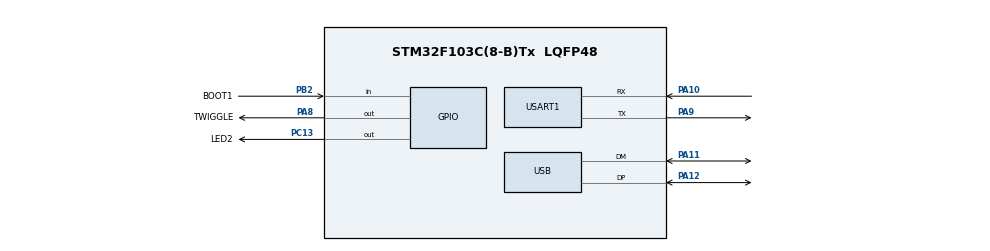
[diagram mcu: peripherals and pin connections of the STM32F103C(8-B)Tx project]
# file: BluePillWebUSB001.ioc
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FREERTOS.INCLUDE_uxTaskGetStackHighWaterMark=1
FREERTOS.MEMORY_ALLOCATION=2
FREERTOS.Tasks01=defaultTask,0,128,StartDefaultTask,Default,NULL,Static,defaultTaskBuffer,defaultTaskControlBlock
FREERTOS.configCHECK_FOR_STACK_OVERFLOW=2
FREERTOS.configGENERATE_RUN_TIME_STATS=0
FREERTOS.configRECORD_STACK_HIGH_ADDRESS=0
FREERTOS.configTOTAL_HEAP_SIZE=4096
FREERTOS.configUSE_MALLOC_FAILED_HOOK=1
Mcu.Family=STM32F1
Mcu.Name=STM32F103C(8-B)Tx
Mcu.Package=LQFP48
NVIC.PriorityGroup=NVIC_PRIORITYGROUP_4
NVIC.RTC_Alarm_IRQn=true\:5\:0\:false\:false\:true\:true\:true\:true
NVIC.TIM2_IRQn=true\:0\:0\:false\:false\:true\:false\:false\:true
NVIC.TimeBase=TIM2_IRQn
NVIC.TimeBaseIP=TIM2
NVIC.USART1_IRQn=true\:5\:0\:false\:false\:true\:true\:true\:true
NVIC.USB_LP_CAN1_RX0_IRQn=true\:5\:0\:false\:false\:true\:true\:false\:true
PA10.Mode=Asynchronous
PA10.Signal=USART1_RX
PA11.Mode=Device
PA11.Signal=USB_DM
PA12.Mode=Device
PA12.Signal=USB_DP
PA13.Mode=Serial_Wire
PA13.Signal=SYS_JTMS-SWDIO
PA14.Mode=Serial_Wire
PA14.Signal=SYS_JTCK-SWCLK
PA8.GPIO_Label=TWIGGLE
PA8.GPIO_Speed=GPIO_SPEED_FREQ_HIGH
PA8.Signal=GPIO_Output
PA9.Mode=Asynchronous
PA9.Signal=USART1_TX
PB2.GPIO_Label=BOOT1
PB2.Signal=GPIO_Input
PC13-TAMPER-RTC.GPIO_Label=LED2
PC13-TAMPER-RTC.PinState=GPIO_PIN_SET
PC13-TAMPER-RTC.Signal=GPIO_Output
PC14-OSC32_IN.Mode=LSE-External-Oscillator
PC14-OSC32_IN.Signal=RCC_OSC32_IN
PC15-OSC32_OUT.Mode=LSE-External-Oscillator
PC15-OSC32_OUT.Signal=RCC_OSC32_OUT
PD0-OSC_IN.Mode=HSE-External-Oscillator
PD0-OSC_IN.Signal=RCC_OSC_IN
PD1-OSC_OUT.Mode=HSE-External-Oscillator
PD1-OSC_OUT.Signal=RCC_OSC_OUT
ProjectManager.HeapSize=0x200
ProjectManager.StackSize=0x400
ProjectManager.TargetToolchain=SW4STM32
RCC.AHBFreq_Value=72000000
RCC.APB1CLKDivider=RCC_HCLK_DIV2
RCC.APB1Freq_Value=36000000
RCC.APB1TimFreq_Value=72000000
RCC.APB2Freq_Value=72000000
RCC.APB2TimFreq_Value=72000000
RCC.HCLKFreq_Value=72000000
RCC.PLLMUL=RCC_PLL_MUL9
RCC.PLLSourceVirtual=RCC_PLLSOURCE_HSE
RCC.RTCClockSelection=RCC_RTCCLKSOURCE_LSE
RCC.SYSCLKFreq_VALUE=72000000
RCC.SYSCLKSource=RCC_SYSCLKSOURCE_PLLCLK
RCC.USBFreq_Value=48000000
RCC.USBPrescaler=RCC_USBCLKSOURCE_PLL_DIV1_5
RTC.AutoPrediv=RTC_AUTO_1_SECOND
RTC.Date=7
RTC.Format=RTC_FORMAT_BIN
RTC.Month=RTC_MONTH_AUGUST
RTC.WeekDay=RTC_WEEKDAY_FRIDAY
RTC.Year=20
USART1.VirtualMode=VM_ASYNC
USB_DEVICE.CLASS_NAME_FS=CDC
USB_DEVICE.VirtualMode=Cdc
USB_DEVICE.VirtualModeFS=Cdc_FS
VP_FREERTOS_VS_CMSIS_V1.Mode=CMSIS_V1
VP_RTC_No_RTC_Output.Mode=RTC_OUT_NO
VP_RTC_VS_RTC_Activate.Mode=RTC_Enabled
VP_SYS_VS_tim2.Mode=TIM2
VP_USB_DEVICE_VS_USB_DEVICE_CDC_FS.Mode=CDC_FS
board=BluePill

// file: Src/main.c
/* USER CODE BEGIN Header */
/**
  ******************************************************************************
  * @file           : main.c
  * @brief          : Main program body
  ******************************************************************************
  * @attention
  *
  * <h2><center>&copy; Copyright (c) 2020 STMicroelectronics.
  * All rights reserved.</center></h2>
  *
  * This software component is licensed by ST under Ultimate Liberty license
  * SLA0044, the "License"; You may not use this file except in compliance with
  * the License. You may obtain a copy of the License at:
  *                             www.st.com/SLA0044
  *
  ******************************************************************************
  */
/* USER CODE END Header */

#include "main.h"
#include "cmsis_os.h"

/* USER CODE BEGIN Includes */

#include "tusb.h"
#include "system_interfaces.h"
#include "serial_devices.h"
#include "util_circbuff2.h"

#include "lamps.h"
#include "task_notification_bits.h"

#include "task_monitor.h"

//get the debug cycle counter as a high-resolution clock
uint32_t inline getCyCnt() { return DWT->CYCCNT; }

#ifndef COUNTOF
#define COUNTOF(arr) (sizeof(arr)/sizeof(arr[0]))
#endif

#if ! HAVE_UART1 && ! HAVE_USBCDC
#error You must set at least one of HAVE_UART1 HAVE_USBCDC to 1 in project settings
#endif

//This controls whether we use the FreeRTOS heap implementation to also provide
//the libc malloc() and friends.
#define USE_FREERTOS_HEAP_IMPL 1

//resource usage statistics collected in default task for production tuning
#ifdef DEBUG
volatile size_t g_nHeapFree;
volatile size_t g_nMinEverHeapFree;
#if HAVE_UART1
volatile int g_nMaxUART1TxQueue;
volatile int g_nMaxUART1RxQueue;
#endif
#if HAVE_USBCDC
volatile int g_nMaxCDCTxQueue;
volatile int g_nMaxCDCRxQueue;
#endif
volatile int g_nMinStackFreeDefault;
volatile int g_nMinStackFreeMonitor;
//XXX others
#endif

#if USE_FREERTOS_HEAP_IMPL

#if configAPPLICATION_ALLOCATED_HEAP
//we define our heap (to be used by FreeRTOS heap_4.c implementation) to be
//exactly where we want it to be.
__attribute__((aligned(8)))
uint8_t ucHeap[ configTOTAL_HEAP_SIZE ];
#endif
//we implemented a 'realloc' for a heap_4 derived implementation
extern void* pvPortRealloc( void* pvOrig, size_t xWantedSize );
//we implemented a 'heapwalk' function
typedef int (*CBK_HEAPWALK) ( void* pblk, uint32_t nBlkSize, int bIsFree, void* pinst );
extern int vPortHeapWalk ( CBK_HEAPWALK pfnWalk, void* pinst );

//'wrapped functions' for library interpositioning
//you must specify these gcc (linker-directed) options to cause the wrappers'
//delights to be generated:

// -Wl,--wrap,malloc -Wl,--wrap,free -Wl,--wrap,realloc -Wl,--wrap,calloc -Wl,--wrap,_malloc_r -Wl,--wrap,_free_r -Wl,--wrap,_realloc_r -Wl,--wrap,_calloc_r

//hmm; can I declare these 'inline' and save a little code and stack?
void* __wrap_malloc ( size_t size ) { return pvPortMalloc ( size ); }
void __wrap_free ( void* pv ) { vPortFree ( pv ); }
void* __wrap_realloc ( void* pv, size_t size ) { return pvPortRealloc ( pv, size ); }

void* __wrap__malloc_r ( struct _reent* r, size_t size ) { return pvPortMalloc ( size ); }
void __wrap__free_r ( struct _reent* r, void* pv ) { vPortFree ( pv ); }
void* __wrap__realloc_r ( struct _reent* r, void* pv, size_t size ) { return pvPortRealloc ( pv, size ); }

#endif

/* USER CODE END Includes */

osThreadId defaultTaskHandle;
uint32_t defaultTaskBuffer[ 128 ];
osStaticThreadDef_t defaultTaskControlBlock;

void SystemClock_Config(void);
static void MX_GPIO_Init(void);
static void MX_RTC_Init(void);
static void MX_USART1_UART_Init(void);
void StartDefaultTask(void const * argument);

int main(void)
{
  /* USER CODE BEGIN 1 */
	//enable the core debug cycle counter to be used as a precision timer
	CoreDebug->DEMCR |= CoreDebug_DEMCR_TRCENA_Msk;
	DWT->CYCCNT = 0;
	DWT->CTRL |= DWT_CTRL_CYCCNTENA_Msk;

	//do a dummy alloc to cause the heap to be init'ed and so the memory stats as well
	vPortFree ( pvPortMalloc ( 0 ) );

  /* USER CODE END 1 */

  /* MCU Configuration--------------------------------------------------------*/

  /* Reset of all peripherals, Initializes the Flash interface and the Systick. */
  HAL_Init();

  /* Configure the system clock */
  SystemClock_Config();

  /* USER CODE BEGIN SysInit */
	//USB clock selection
	MODIFY_REG(RCC->CFGR, RCC_CFGR_USBPRE, (uint32_t)(0));	//RCC_USBCLKSOURCE_PLL_DIV1_5
  /* USER CODE END SysInit */

  /* Initialize all configured peripherals */
  MX_GPIO_Init();
  MX_RTC_Init();
  MX_USART1_UART_Init();
  /* USER CODE BEGIN 2 */
	// USB Pins
	// Configure USB DM and DP pins.
	LL_GPIO_InitTypeDef GPIO_InitStruct = {0};
	GPIO_InitStruct.Pin = LL_GPIO_PIN_11 | LL_GPIO_PIN_12;
	GPIO_InitStruct.Mode = LL_GPIO_MODE_INPUT;
	GPIO_InitStruct.Speed = LL_GPIO_SPEED_FREQ_HIGH;
	LL_GPIO_Init(GPIOA, &GPIO_InitStruct);
	// USB Clock enable
	LL_APB1_GRP1_EnableClock(LL_APB1_GRP1_PERIPH_USB);
  /* USER CODE END 2 */

  /* Create the thread(s) */
  /* definition and creation of defaultTask */
  osThreadStaticDef(defaultTask, StartDefaultTask, osPriorityNormal, 0, 128, defaultTaskBuffer, &defaultTaskControlBlock);
  defaultTaskHandle = osThreadCreate(osThread(defaultTask), NULL);

  /* Start scheduler */
  osKernelStart();

  /* We should never get here as control is now taken by the scheduler */

  /* Infinite loop */
  while (1)
  {

  }
}

void SystemClock_Config(void)
{
  LL_FLASH_SetLatency(LL_FLASH_LATENCY_2);

   if(LL_FLASH_GetLatency() != LL_FLASH_LATENCY_2)
  {
    Error_Handler();
  }
  LL_RCC_HSE_Enable();

   /* Wait till HSE is ready */
  while(LL_RCC_HSE_IsReady() != 1)
  {

  }
  LL_PWR_EnableBkUpAccess();
  LL_RCC_ForceBackupDomainReset();
  LL_RCC_ReleaseBackupDomainReset();
  LL_RCC_LSE_Enable();

   /* Wait till LSE is ready */
  while(LL_RCC_LSE_IsReady() != 1)
  {

  }
  LL_RCC_SetRTCClockSource(LL_RCC_RTC_CLKSOURCE_LSE);
  LL_RCC_EnableRTC();
  LL_RCC_PLL_ConfigDomain_SYS(LL_RCC_PLLSOURCE_HSE_DIV_1, LL_RCC_PLL_MUL_9);
  LL_RCC_PLL_Enable();

   /* Wait till PLL is ready */
  while(LL_RCC_PLL_IsReady() != 1)
  {

  }
  LL_RCC_SetAHBPrescaler(LL_RCC_SYSCLK_DIV_1);
  LL_RCC_SetAPB1Prescaler(LL_RCC_APB1_DIV_2);
  LL_RCC_SetAPB2Prescaler(LL_RCC_APB2_DIV_1);
  LL_RCC_SetSysClkSource(LL_RCC_SYS_CLKSOURCE_PLL);

   /* Wait till System clock is ready */
  while(LL_RCC_GetSysClkSource() != LL_RCC_SYS_CLKSOURCE_STATUS_PLL)
  {

  }
  LL_SetSystemCoreClock(72000000);
}

static void MX_RTC_Init(void)
{

  LL_RTC_InitTypeDef RTC_InitStruct = {0};
  LL_RTC_TimeTypeDef RTC_TimeStruct = {0};

    LL_PWR_EnableBkUpAccess();
    /* Enable BKP CLK enable for backup registers */
    LL_APB1_GRP1_EnableClock(LL_APB1_GRP1_PERIPH_BKP);
  /* Peripheral clock enable */
  LL_RCC_EnableRTC();

  /* RTC interrupt Init */
  NVIC_SetPriority(RTC_Alarm_IRQn, NVIC_EncodePriority(NVIC_GetPriorityGrouping(),5, 0));
  NVIC_EnableIRQ(RTC_Alarm_IRQn);

  /* USER CODE BEGIN RTC_Init 1 */
	//XXX code to avoid resetting on every reboot goes here
  /* USER CODE END RTC_Init 1 */
  /** Initialize RTC and set the Time and Date
  */
  RTC_InitStruct.AsynchPrescaler = 0xFFFFFFFFU;
  LL_RTC_Init(RTC, &RTC_InitStruct);
  LL_RTC_SetAsynchPrescaler(RTC, 0xFFFFFFFFU);
  /** Initialize RTC and set the Time and Date
  */
  RTC_TimeStruct.Hours = 0;
  RTC_TimeStruct.Minutes = 0;
  RTC_TimeStruct.Seconds = 0;
  LL_RTC_TIME_Init(RTC, LL_RTC_FORMAT_BIN, &RTC_TimeStruct);
  /** Enable the Alarm A
  */
  LL_RTC_EnableIT_ALR(RTC);
  /* USER CODE BEGIN RTC_Init 2 */
	//goofy CubeMX will not let you explicitly set the prescaler above 127 in
	//the UI, and the 'auto compute' does nothing other than set it to
	//0xFFFFFFFFU, which does nothing (and the max value is 0x000FFFFF, anyway)
	//and goofy code above inits it via LL_RTC_Init(), then attempts to set it
	//again via LL_RTC_SetAsynchPrescaler(), which won't work, anyway.
	if (LL_RTC_EnterInitMode(RTC) != ERROR)
	{
		//we are using a 32768 Hz LSE xtal.  You could reduce the divider to
		//have sub-second resolution, but you will need to keep that in mind
		//elsewhere when reading the clock, and anyway you'll not be able to
		//have decimal precision since it's not a multiple of 10.
		LL_RTC_SetAsynchPrescaler(RTC, 32767);	//we are using LSE xtal
		LL_RTC_ExitInitMode(RTC);
	}
	else
	{
		//horror
	}

	//XXX end of code to avoid resetting on every reboot goes here

  /* USER CODE END RTC_Init 2 */

}

static void MX_USART1_UART_Init(void)
{

  LL_USART_InitTypeDef USART_InitStruct = {0};

  LL_GPIO_InitTypeDef GPIO_InitStruct = {0};

  /* Peripheral clock enable */
  LL_APB2_GRP1_EnableClock(LL_APB2_GRP1_PERIPH_USART1);

  LL_APB2_GRP1_EnableClock(LL_APB2_GRP1_PERIPH_GPIOA);
  /**USART1 GPIO Configuration
  PA9   ------> USART1_TX
  PA10   ------> USART1_RX
  */
  GPIO_InitStruct.Pin = LL_GPIO_PIN_9;
  GPIO_InitStruct.Mode = LL_GPIO_MODE_ALTERNATE;
  GPIO_InitStruct.Speed = LL_GPIO_SPEED_FREQ_HIGH;
  GPIO_InitStruct.OutputType = LL_GPIO_OUTPUT_PUSHPULL;
  LL_GPIO_Init(GPIOA, &GPIO_InitStruct);

  GPIO_InitStruct.Pin = LL_GPIO_PIN_10;
  GPIO_InitStruct.Mode = LL_GPIO_MODE_FLOATING;
  LL_GPIO_Init(GPIOA, &GPIO_InitStruct);

  /* USART1 interrupt Init */
  NVIC_SetPriority(USART1_IRQn, NVIC_EncodePriority(NVIC_GetPriorityGrouping(),5, 0));
  NVIC_EnableIRQ(USART1_IRQn);

  USART_InitStruct.BaudRate = 115200;
  USART_InitStruct.DataWidth = LL_USART_DATAWIDTH_8B;
  USART_InitStruct.StopBits = LL_USART_STOPBITS_1;
  USART_InitStruct.Parity = LL_USART_PARITY_NONE;
  USART_InitStruct.TransferDirection = LL_USART_DIRECTION_TX_RX;
  USART_InitStruct.HardwareFlowControl = LL_USART_HWCONTROL_NONE;
  USART_InitStruct.OverSampling = LL_USART_OVERSAMPLING_16;
  LL_USART_Init(USART1, &USART_InitStruct);
  LL_USART_ConfigAsyncMode(USART1);
  LL_USART_Enable(USART1);

}

static void MX_GPIO_Init(void)
{
  LL_GPIO_InitTypeDef GPIO_InitStruct = {0};

  /* GPIO Ports Clock Enable */
  LL_APB2_GRP1_EnableClock(LL_APB2_GRP1_PERIPH_GPIOC);
  LL_APB2_GRP1_EnableClock(LL_APB2_GRP1_PERIPH_GPIOD);
  LL_APB2_GRP1_EnableClock(LL_APB2_GRP1_PERIPH_GPIOA);
  LL_APB2_GRP1_EnableClock(LL_APB2_GRP1_PERIPH_GPIOB);

  /**/
  LL_GPIO_SetOutputPin(LED2_GPIO_Port, LED2_Pin);

  /**/
  LL_GPIO_ResetOutputPin(TWIGGLE_GPIO_Port, TWIGGLE_Pin);

  /**/
  GPIO_InitStruct.Pin = LED2_Pin;
  GPIO_InitStruct.Mode = LL_GPIO_MODE_OUTPUT;
  GPIO_InitStruct.Speed = LL_GPIO_SPEED_FREQ_LOW;
  GPIO_InitStruct.OutputType = LL_GPIO_OUTPUT_PUSHPULL;
  LL_GPIO_Init(LED2_GPIO_Port, &GPIO_InitStruct);

  /**/
  GPIO_InitStruct.Pin = LL_GPIO_PIN_0|LL_GPIO_PIN_1|LL_GPIO_PIN_2|LL_GPIO_PIN_3
                          |LL_GPIO_PIN_4|LL_GPIO_PIN_5|LL_GPIO_PIN_6|LL_GPIO_PIN_7
                          |LL_GPIO_PIN_15;
  GPIO_InitStruct.Mode = LL_GPIO_MODE_ANALOG;
  LL_GPIO_Init(GPIOA, &GPIO_InitStruct);

  /**/
  GPIO_InitStruct.Pin = LL_GPIO_PIN_0|LL_GPIO_PIN_1|LL_GPIO_PIN_10|LL_GPIO_PIN_11
                          |LL_GPIO_PIN_12|LL_GPIO_PIN_13|LL_GPIO_PIN_14|LL_GPIO_PIN_15
                          |LL_GPIO_PIN_3|LL_GPIO_PIN_4|LL_GPIO_PIN_5|LL_GPIO_PIN_6
                          |LL_GPIO_PIN_7|LL_GPIO_PIN_8|LL_GPIO_PIN_9;
  GPIO_InitStruct.Mode = LL_GPIO_MODE_ANALOG;
  LL_GPIO_Init(GPIOB, &GPIO_InitStruct);

  /**/
  GPIO_InitStruct.Pin = BOOT1_Pin;
  GPIO_InitStruct.Mode = LL_GPIO_MODE_FLOATING;
  LL_GPIO_Init(BOOT1_GPIO_Port, &GPIO_InitStruct);

  /**/
  GPIO_InitStruct.Pin = TWIGGLE_Pin;
  GPIO_InitStruct.Mode = LL_GPIO_MODE_OUTPUT;
  GPIO_InitStruct.Speed = LL_GPIO_SPEED_FREQ_HIGH;
  GPIO_InitStruct.OutputType = LL_GPIO_OUTPUT_PUSHPULL;
  LL_GPIO_Init(TWIGGLE_GPIO_Port, &GPIO_InitStruct);

}

/* USER CODE BEGIN 4 */

//====================================================

//this is made a function simply for tidiness, and locals lifetime
void __startWorkerTasks ( void )
{
	//kick off the monitor thread, which handles the user interactions
	{
	osThreadStaticDef(taskMonitor, thrdfxnMonitorTask, osPriorityNormal, 0, COUNTOF(g_tbMonitor), g_tbMonitor, &g_tcbMonitor);
	g_thMonitor = osThreadCreate(osThread(taskMonitor), NULL);
	}
}

//====================================================
//miscellaneous hooks of our creation

//in this logic, we prefer USART1 over USBCDC
#if HAVE_UART1
#define PREFER_USART1 1
#elif HAVE_USBCDC
#define PREFER_USBCDC 1
#endif

#if PREFER_USBCDC

//well-discplined serial clients will assert DTR, and we
//can use that as an indication that a client application
//opened the port.
//NOTE:  These lines are often also set to an initial state
//by the host's driver, so do not consider these to be
//exclusively an indication of a client connecting.  Hosts
//usually will deassert these signals when this device
//enumerates.  Lastly, there is no guarantee that a client
//will assert DTR, so it's not 100% guarantee, just a pretty
//good indicator.
//NOTE:  we are in an ISR at this time
void USBCDC_DTR ( int bAssert )
{
	Monitor_ClientConnect ( bAssert );
}

//(unneeded)
//void USBCDC_RTS ( int bAssert ) { }
#endif

#if PREFER_USBCDC
void USBCDC_DataAvailable ( void )
#elif PREFER_USART1
void UART1_DataAvailable ( void )
#endif
#if PREFER_USBCDC || PREFER_USART1
{
	//this notification is required because our Monitor is implemented with the
	//non-blocking command interface, so we need to know when to wake and bake.
	Monitor_DAV();
}
#endif

#if PREFER_USBCDC
void USBCDC_TransmitEmpty ( void )
#elif PREFER_USART1
void UART1_TransmitEmpty ( void )
#endif
#if PREFER_USBCDC || PREFER_USART1
{
	//we don't really need this, but here's how you do it
	Monitor_TBMT();
}
#endif

//====================================================
//FreeRTOS hooks

void vApplicationStackOverflowHook(xTaskHandle xTask, signed char *pcTaskName)
{
	/* Run time stack overflow checking is performed if
	configCHECK_FOR_STACK_OVERFLOW is defined to 1 or 2. This hook function is
	called if a stack overflow is detected. */
	volatile int i = 0;
	(void)i;
}

void vApplicationMallocFailedHook(void)
{
	/* vApplicationMallocFailedHook() will only be called if
	configUSE_MALLOC_FAILED_HOOK is set to 1 in FreeRTOSConfig.h. It is a hook
	function that will get called if a call to pvPortMalloc() fails.
	pvPortMalloc() is called internally by the kernel whenever a task, queue,
	timer or semaphore is created. It is also called by various parts of the
	demo application. If heap_1.c or heap_2.c are used, then the size of the
	heap available to pvPortMalloc() is defined by configTOTAL_HEAP_SIZE in
	FreeRTOSConfig.h, and the xPortGetFreeHeapSize() API function can be used
	to query the size of free heap space that remains (although it does not
	provide information on how the remaining heap might be fragmented). */
	volatile int i = 0;
	(void)i;
}

//====================================================
// Forward USB interrupt events to TinyUSB IRQ Handler

void USB_HP_IRQHandler(void)
{
	tud_int_handler(0);
}

void USB_LP_IRQHandler(void)
{
	tud_int_handler(0);
}

void USBWakeUp_IRQHandler(void)
{
	tud_int_handler(0);
}

/* USER CODE END 4 */

void StartDefaultTask(void const * argument)
{

  /* USER CODE BEGIN 5 */

	//init TinyUSB
	tusb_init();

	//crank up serial ports
#if HAVE_UART1
	UART1_Init();	//UART1, alternative monitor
#endif
#if HAVE_USBCDC
	USBCDC_Init();	//CDC == monitor
#endif

	//bind the interfaces to the relevant devices
	//these 'HAVE_xxx' macros are in the preprocessor defs of the project
#if PREFER_USBCDC
	//we'll prefer the USB CDC if we've defined support for both
	g_pMonitorIOIf = &g_pifCDC;		//monitor is on USB CDC
#elif PREFER_USART1
	g_pMonitorIOIf = &g_pifUART1;	//monitor is on UART1
#endif

/*
	//Infinite loop
	for(;;)
	{
		_ledToggleGn();
		osDelay(500);
	}
*/

	//light some lamps on a countdown
	LightLamp ( 1000, &g_lltGn, _ledOnGn );

	//start up worker threads
	__startWorkerTasks();

	//================================================
	//temporary test crap
	{
	volatile size_t nPushed;

#if PREFER_USART1 && defined(DEBUG)
	//the uart1 monitor is for my debugging convenience, but it doesn't have a
	//'client connected' event, so squirt out a string to make it obvious we
	//are live
	g_pifUART1._transmitCompletely ( &g_pifUART1, "Hi, there!\r\n> ", -1, 1000 );
#endif

	(void) nPushed;
	nPushed = 0;	//(just for breakpoint)
	}

	//================================================
	//continue running this task
	//This task, the 'default' task, was generated by the tool, and it's easier
	//to just keep it than to fight the tool to destroy it (though some of that
	//fighting can be made a little easier if it was dynamically allocated,
	//then just exited).  We repurpose it after init to handle the lamps and
	//periodically sample performance data (useful for tuning pre-release).

	//Infinite loop
	uint32_t msWait = 1000;
	for(;;)
	{
		//wait on various task notifications
		uint32_t ulNotificationValue;
		BaseType_t xResult = xTaskNotifyWait( pdFALSE,	//Don't clear bits on entry.
				0xffffffff,	//Clear all bits on exit.
				&ulNotificationValue,	//Stores the notified value.
				pdMS_TO_TICKS(msWait) );
		if( xResult == pdPASS )
		{
			//the lights have changed
			if ( ulNotificationValue & TNB_LIGHTSCHANGED )
			{
				//YYY could do something, but we don't need to
			}
			if ( ulNotificationValue & TNB_DEF_USB )
			{
				tud_task();	//process the device stack
				//XXX cdc_task();	//??? we implement?
			}
		}
		else	//timeout on wait
		{
			//YYY could do things to do on periodic idle timeout
		}

#ifdef DEBUG
		//these are to tune the freertos heap size; if we have a heap
#if USE_FREERTOS_HEAP_IMPL
		g_nHeapFree = xPortGetFreeHeapSize();
		g_nMinEverHeapFree = xPortGetMinimumEverFreeHeapSize();
#else
		g_nMinEverHeapFree = (char*)platform_get_last_free_ram( 0 ) - (char*)platform_get_first_free_ram( 0 );
#endif
#if HAVE_UART1
		g_nMaxUART1TxQueue = UART1_txbuff_max();
		g_nMaxUART1RxQueue = UART1_rxbuff_max();
#endif
#if HAVE_USBCDC
		g_nMaxCDCTxQueue = CDC_txbuff_max();
		g_nMaxCDCRxQueue = CDC_rxbuff_max();
#endif
		//free stack space measurements
		g_nMinStackFreeDefault = uxTaskGetStackHighWaterMark ( defaultTaskHandle );
		g_nMinStackFreeMonitor = uxTaskGetStackHighWaterMark ( g_thMonitor );
		//XXX others
#endif

		//turn out the lights, the party's over
		uint32_t now = HAL_GetTick();
		uint32_t remMin = 0xffffffff;	//nothing yet
		ProcessLightOffTime ( now, &remMin, &g_lltGn, _ledOffGn );

		//don't wait longer than 3 sec
		if ( remMin > 3000 )
			remMin = 3000;

		msWait = remMin;
	}

  /* USER CODE END 5 */
}

void HAL_TIM_PeriodElapsedCallback(TIM_HandleTypeDef *htim)
{
  if (htim->Instance == TIM2) {
    HAL_IncTick();
  }
}

void Error_Handler(void)
{
  /* USER CODE BEGIN Error_Handler_Debug */
  /* User can add his own implementation to report the HAL error return state */
	volatile int i = 0;
	(void)i;
  /* USER CODE END Error_Handler_Debug */
}

#ifdef  USE_FULL_ASSERT
/**
  * @brief  Reports the name of the source file and the source line number
  *         where the assert_param error has occurred.
  * @param  file: pointer to the source file name
  * @param  line: assert_param error line source number
  * @retval None
  */
void assert_failed(uint8_t *file, uint32_t line)
{
  /* USER CODE BEGIN 6 */
  /* User can add his own implementation to report the file name and line number,
     tex: printf("Wrong parameters value: file %s on line %d\r\n", file, line) */
	volatile int i = 0;
	(void)i;
  /* USER CODE END 6 */
}
#endif /* USE_FULL_ASSERT */

/************************ (C) COPYRIGHT STMicroelectronics *****END OF FILE****/

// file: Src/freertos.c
/* USER CODE BEGIN Header */
/**
  ******************************************************************************
  * File Name          : freertos.c
  * Description        : Code for freertos applications
  ******************************************************************************
  * @attention
  *
  * <h2><center>&copy; Copyright (c) 2020 STMicroelectronics.
  * All rights reserved.</center></h2>
  *
  * This software component is licensed by ST under Ultimate Liberty license
  * SLA0044, the "License"; You may not use this file except in compliance with
  * the License. You may obtain a copy of the License at:
  *                             www.st.com/SLA0044
  *
  ******************************************************************************
  */
/* USER CODE END Header */

#include "FreeRTOS.h"
#include "task.h"
#include "main.h"

/* GetIdleTaskMemory prototype (linked to static allocation support) */
void vApplicationGetIdleTaskMemory( StaticTask_t **ppxIdleTaskTCBBuffer, StackType_t **ppxIdleTaskStackBuffer, uint32_t *pulIdleTaskStackSize );

/* Hook prototypes */
void vApplicationStackOverflowHook(xTaskHandle xTask, signed char *pcTaskName);
void vApplicationMallocFailedHook(void);

/* USER CODE BEGIN 4 */
__weak void vApplicationStackOverflowHook(xTaskHandle xTask, signed char *pcTaskName)
{
   /* Run time stack overflow checking is performed if
   configCHECK_FOR_STACK_OVERFLOW is defined to 1 or 2. This hook function is
   called if a stack overflow is detected. */
}
/* USER CODE END 4 */

/* USER CODE BEGIN 5 */
__weak void vApplicationMallocFailedHook(void)
{
   /* vApplicationMallocFailedHook() will only be called if
   configUSE_MALLOC_FAILED_HOOK is set to 1 in FreeRTOSConfig.h. It is a hook
   function that will get called if a call to pvPortMalloc() fails.
   pvPortMalloc() is called internally by the kernel whenever a task, queue,
   timer or semaphore is created. It is also called by various parts of the
   demo application. If heap_1.c or heap_2.c are used, then the size of the
   heap available to pvPortMalloc() is defined by configTOTAL_HEAP_SIZE in
   FreeRTOSConfig.h, and the xPortGetFreeHeapSize() API function can be used
   to query the size of free heap space that remains (although it does not
   provide information on how the remaining heap might be fragmented). */
}
/* USER CODE END 5 */

/* USER CODE BEGIN GET_IDLE_TASK_MEMORY */
static StaticTask_t xIdleTaskTCBBuffer;
static StackType_t xIdleStack[configMINIMAL_STACK_SIZE];

void vApplicationGetIdleTaskMemory( StaticTask_t **ppxIdleTaskTCBBuffer, StackType_t **ppxIdleTaskStackBuffer, uint32_t *pulIdleTaskStackSize )
{
  *ppxIdleTaskTCBBuffer = &xIdleTaskTCBBuffer;
  *ppxIdleTaskStackBuffer = &xIdleStack[0];
  *pulIdleTaskStackSize = configMINIMAL_STACK_SIZE;
  /* place for user code */
}
/* USER CODE END GET_IDLE_TASK_MEMORY */

/************************ (C) COPYRIGHT STMicroelectronics *****END OF FILE****/
